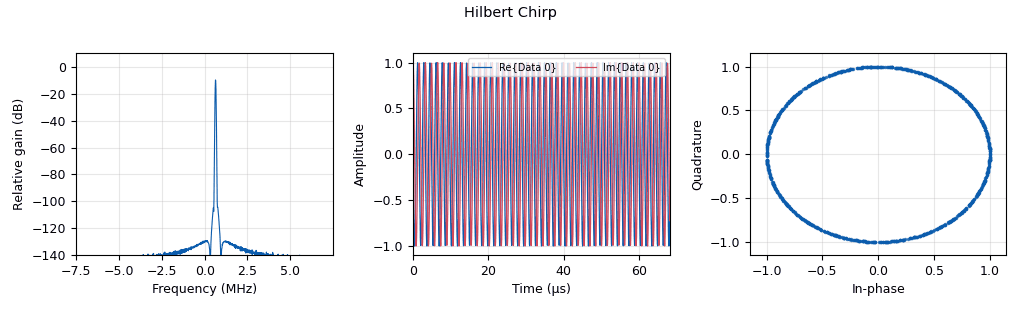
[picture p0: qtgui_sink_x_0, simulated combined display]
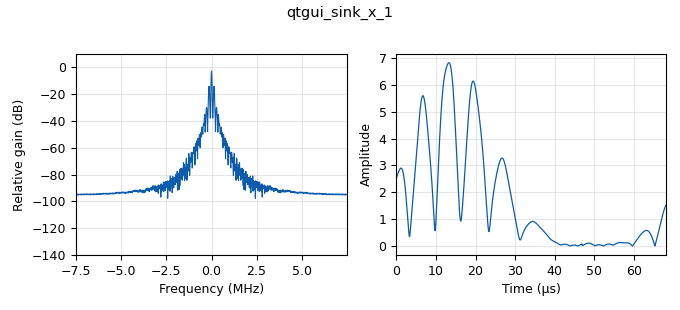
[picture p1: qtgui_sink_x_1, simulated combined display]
options:
  parameters:
    generate_options: qt_gui
    id: fmcw_sim
    output_language: python
    title: Not titled yet
  states: {}

blocks:
- name: chirp_freq
  id: variable_qtgui_range
  parameters:
    start: '0'
    step: '1'
    stop: '1000'
    value: '1000'
  states: {}
- name: samp_rate
  id: variable
  parameters:
    value: '15000000'
  states: {}
- name: analog_sig_source_x_0_0
  id: analog_sig_source_x
  parameters:
    amp: '1'
    freq: chirp_freq
    offset: '0'
    phase: '0'
    samp_rate: samp_rate
    type: float
    waveform: analog.GR_SAW_WAVE
  states: {}
- name: blocks_add_xx_0
  id: blocks_add_xx
  parameters:
    type: complex
  states: {}
- name: blocks_complex_to_mag_0
  id: blocks_complex_to_mag
  parameters: {}
  states: {}
- name: blocks_delay_0
  id: blocks_delay
  parameters:
    delay: int(0.2*(samp_rate/chirp_freq))
    type: complex
  states: {}
- name: blocks_delay_0_1
  id: blocks_delay
  parameters:
    delay: int(0.5*(samp_rate/chirp_freq))
    type: complex
  states: {}
- name: blocks_file_sink_0
  id: blocks_file_sink
  parameters:
    file: matched_filter.dat
    type: float
  states: {}
- name: blocks_head_0
  id: blocks_head
  parameters:
    num_items: '20000000'
    type: float
  states: {}
- name: blocks_multiply_conjugate_cc_0
  id: blocks_multiply_conjugate_cc
  parameters: {}
  states: {}
- name: blocks_stream_to_vector_0
  id: blocks_stream_to_vector
  parameters:
    num_items: '1024'
    type: complex
  states: {}
- name: blocks_stream_to_vector_0_0
  id: blocks_stream_to_vector
  parameters:
    num_items: '1024'
    type: complex
  states: {}
- name: blocks_stream_to_vector_1
  id: blocks_stream_to_vector
  parameters:
    num_items: '1024'
    type: complex
  states: {}
- name: blocks_vco_c_0
  id: blocks_vco_c
  parameters:
    amplitude: '1'
    samp_rate: samp_rate
    sensitivity: '5000000'
  states: {}
- name: blocks_vector_to_stream_0
  id: blocks_vector_to_stream
  parameters:
    num_items: '1024'
    type: complex
  states: {}
- name: blocks_vector_to_stream_0_0
  id: blocks_vector_to_stream
  parameters:
    num_items: '1024'
    type: complex
  states: {}
- name: blocks_vector_to_stream_1
  id: blocks_vector_to_stream
  parameters:
    num_items: '1024'
    type: complex
  states: {}
- name: fft_vxx_0
  id: fft_vxx
  parameters:
    fft_size: '1024'
    forward: 'True'
    shift: 'True'
    type: complex
    window: window.blackmanharris(1024)
  states: {}
- name: fft_vxx_0_0
  id: fft_vxx
  parameters:
    fft_size: '1024'
    forward: 'True'
    shift: 'True'
    type: complex
    window: window.blackmanharris(1024)
  states: {}
- name: fft_vxx_1
  id: fft_vxx
  parameters:
    fft_size: '1024'
    forward: 'False'
    shift: 'True'
    type: complex
    window: window.blackmanharris(1024)
  states: {}
- name: qtgui_sink_x_0
  id: qtgui_sink_x
  parameters:
    bw: samp_rate
    fc: '0'
    fftsize: '1024'
    name: '"Hilbert Chirp"'
    rate: '100000'
    type: complex
  states: {}
- name: qtgui_sink_x_1
  id: qtgui_sink_x
  parameters:
    bw: samp_rate
    fc: '0'
    fftsize: '1024'
    type: float
    wintype: window.WIN_HANN
  states: {}

connections:
- [analog_sig_source_x_0_0, '0', blocks_vco_c_0, '0']
- [blocks_add_xx_0, '0', blocks_stream_to_vector_0, '0']
- [blocks_complex_to_mag_0, '0', blocks_head_0, '0']
- [blocks_delay_0, '0', blocks_add_xx_0, '0']
- [blocks_delay_0_1, '0', blocks_add_xx_0, '1']
- [blocks_head_0, '0', blocks_file_sink_0, '0']
- [blocks_head_0, '0', qtgui_sink_x_1, '0']
- [blocks_multiply_conjugate_cc_0, '0', blocks_stream_to_vector_1, '0']
- [blocks_stream_to_vector_0, '0', fft_vxx_0, '0']
- [blocks_stream_to_vector_0_0, '0', fft_vxx_0_0, '0']
- [blocks_stream_to_vector_1, '0', fft_vxx_1, '0']
- [blocks_vco_c_0, '0', blocks_delay_0, '0']
- [blocks_vco_c_0, '0', blocks_delay_0_1, '0']
- [blocks_vco_c_0, '0', blocks_stream_to_vector_0_0, '0']
- [blocks_vco_c_0, '0', qtgui_sink_x_0, '0']
- [blocks_vector_to_stream_0, '0', blocks_multiply_conjugate_cc_0, '0']
- [blocks_vector_to_stream_0_0, '0', blocks_multiply_conjugate_cc_0, '1']
- [blocks_vector_to_stream_1, '0', blocks_complex_to_mag_0, '0']
- [fft_vxx_0, '0', blocks_vector_to_stream_0, '0']
- [fft_vxx_0_0, '0', blocks_vector_to_stream_0_0, '0']
- [fft_vxx_1, '0', blocks_vector_to_stream_1, '0']

metadata:
  file_format: 1
  grc_version: 3.9.8.0-rc1
